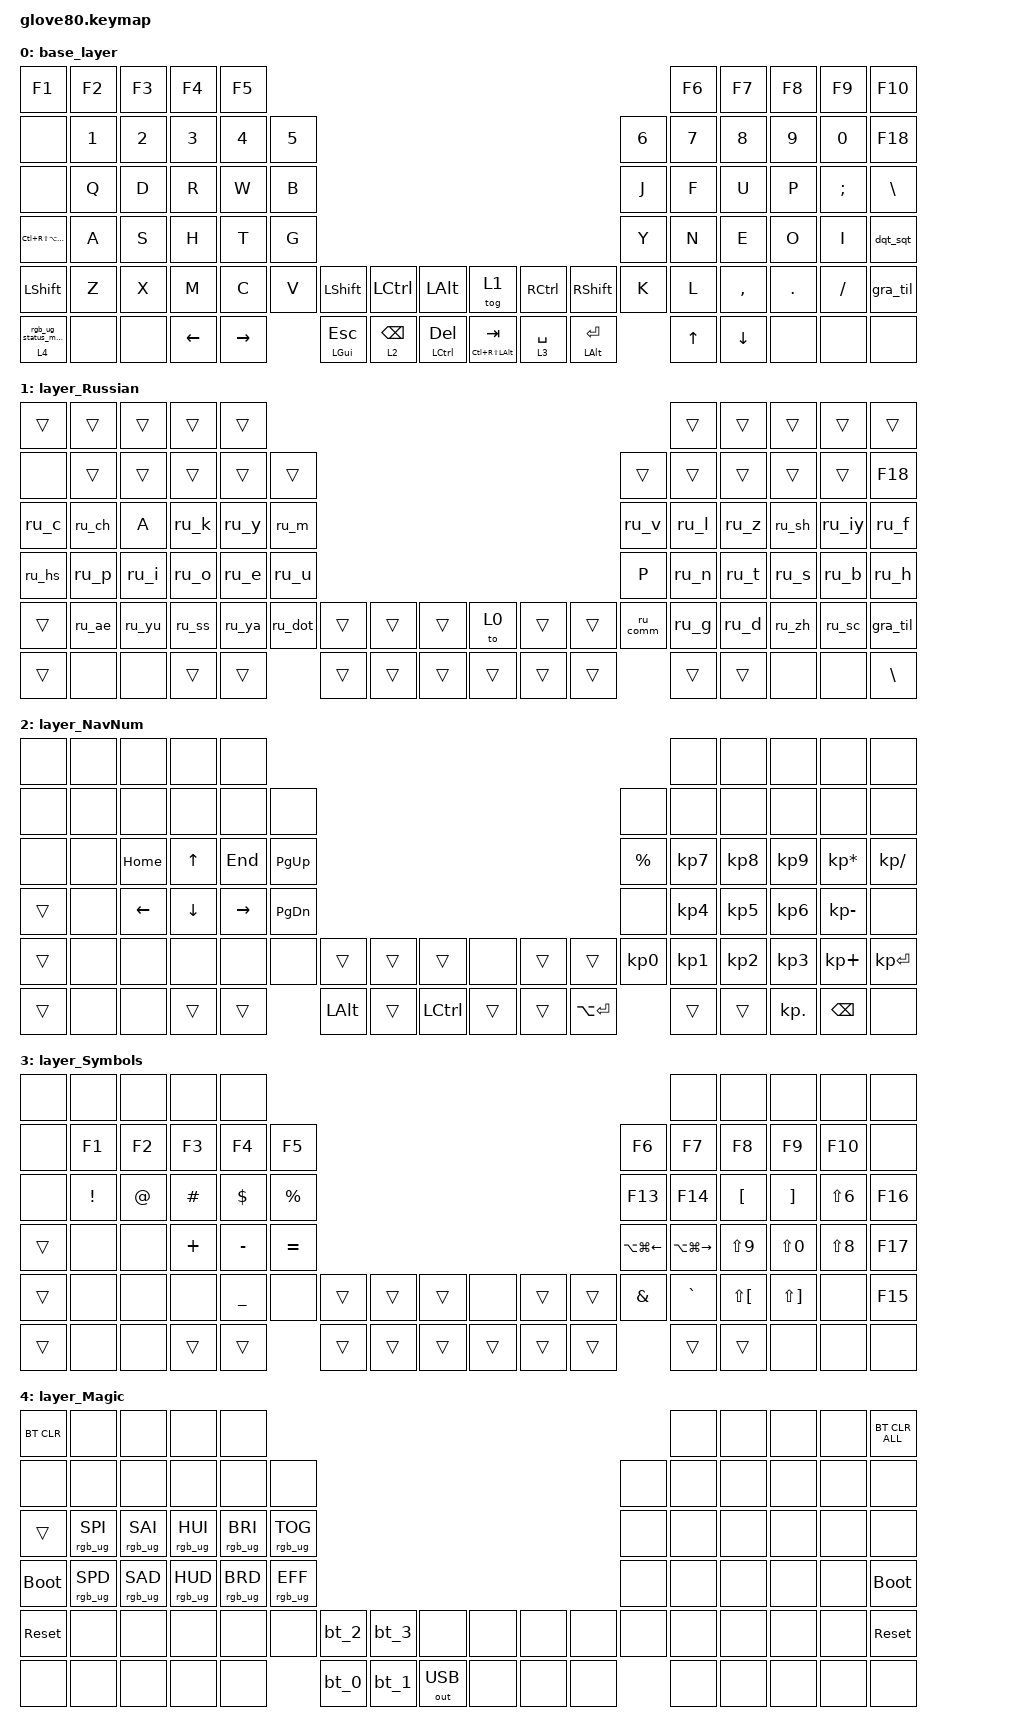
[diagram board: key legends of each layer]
/*
 * Copyright (c) 2020 The ZMK Contributors
 *
 * SPDX-License-Identifier: MIT
 */


#include <behaviors.dtsi>
/* Include all behaviour includes needed by system behaviors/macros */

#include <dt-bindings/zmk/keys.h>
#include <dt-bindings/zmk/bt.h>
#include <dt-bindings/zmk/ext_power.h>
#include <dt-bindings/zmk/outputs.h>
#include <dt-bindings/zmk/rgb.h>

/* required for underglow-indicators */
#include <dt-bindings/led/led.h>

#define HYPR LC(RS(LA(LGUI)))
#define MEH LC(RS(LALT))

#define PRV_SPC F13
#define NXT_SPC F14
#define MSN_CTL F15
#define APP_LNC F16
#define APP_SWT F17

#define PSWD F18

#define PRV_TAB LA(LG(LEFT))
#define NXT_TAB LA(LG(RIGHT))

#define HOST_OS 2  // set to 2 for macOS/Windows-Alt-Codes, default is 0 (Windows)

#include "helper.h"
#include "international_chars/russian.dtsi"


// bind keys swap to LEFT shift, so they do not intefere with MEH/HYPER
#define L_MODMORPH(name, uc_binding, shifted_uc_binding) \
    / { \
        behaviors { \
            name: name { \
                compatible = "zmk,behavior-mod-morph"; \
                label = ZMK_HELPER_STRINGIFY(L_MORPH_ ## name); \
                #binding-cells = <0>; \
                bindings = <uc_binding>, <shifted_uc_binding>; \
                mods = <(MOD_LSFT)>; \
            }; \
        }; \
    };

L_MODMORPH(dqt_sqt, &kp DQT, &kp SQT)
L_MODMORPH(gra_til, &kp GRAVE, &kp TILDE)


/ {
    /* Glove80 system behavior & macros */

    macros {
        rgb_ug_status_macro: rgb_ug_status_macro_0 {
            label = "RGB_UG_STATUS";
            compatible = "zmk,behavior-macro";
            #binding-cells = <0>;
            bindings
                = <&rgb_ug RGB_STATUS>;
        };

        bt_0: bt_profile_macro_0 {
            label = "BT_0";
            compatible = "zmk,behavior-macro";
            #binding-cells = <0>;
            bindings
                = <&out OUT_BLE>,
                  <&bt BT_SEL 0>;
        };

        bt_1: bt_profile_macro_1 {
            label = "BT_1";
            compatible = "zmk,behavior-macro";
            #binding-cells = <0>;
            bindings
                = <&out OUT_BLE>,
                  <&bt BT_SEL 1>;
        };

        bt_2: bt_profile_macro_2 {
            label = "BT_2";
            compatible = "zmk,behavior-macro";
            #binding-cells = <0>;
            bindings
                = <&out OUT_BLE>,
                  <&bt BT_SEL 2>;
        };

        bt_3: bt_profile_macro_3 {
            label = "BT_3";
            compatible = "zmk,behavior-macro";
            #binding-cells = <0>;
            bindings
                = <&out OUT_BLE>,
                  <&bt BT_SEL 3>;
        };
    };

    magic: magic_hold_tap {
        compatible = "zmk,behavior-hold-tap";
        label = "MAGIC_HOLD_TAP";
        #binding-cells = <2>;
        flavor = "tap-preferred";
        tapping-term-ms = <200>;
        bindings = <&mo>, <&rgb_ug_status_macro>;
    };

    keymap {
        compatible = "zmk,keymap";


        base_layer {
            bindings = <
//  0
// ╭──────────┬──────┬──────┬────────┬────────╮                                                                                             ╭──────┬─────────┬────────┬────────┬────────╮
   &kp F1     &kp F2 &kp F3 &kp F4   &kp F5                                                                                                 &kp F6 &kp F7    &kp F8   &kp F9   &kp F10
// ├──────────┼──────┼──────┼────────┼────────┼──────╮                                                                               ╭─────────────┼─────────┼────────┼────────┼────────┤
   &none      &kp N1 &kp N2 &kp N3   &kp N4   &kp N5                                                                                 &kp N6 &kp N7 &kp N8    &kp N9   &kp N0   &kp PSWD
// ├──────────┼──────┼──────┼────────┼────────┼──────┤                                                                               ├──────┼──────┼─────────┼────────┼────────┼────────┤
   &none      &kp Q  &kp D  &kp R    &kp W    &kp B                                                                                  &kp J  &kp F  &kp U     &kp P    &kp SEMI &kp BSLH
// ├──────────┼──────┼──────┼────────┼────────┼──────┤                                                                               ├──────┼──────┼─────────┼────────┼────────┼────────┤
   &kp   HYPR &kp A  &kp S  &kp H    &kp T    &kp G                                                                                  &kp Y  &kp N  &kp E     &kp O    &kp I    &dqt_sqt
// ├──────────┼──────┼──────┼────────┼────────┼──────┤ ╭────────────┬──────────┬────────────╮  ╭───────────┬───────────┬───────────╮ ├──────┼──────┼─────────┼────────┼────────┼────────┤
   &kp  LSHFT &kp Z  &kp X  &kp M    &kp C    &kp V    &kp LSHFT    &kp LCTRL  &kp LALT        &tog 1      &kp RCTRL   &kp RSHFT     &kp K  &kp L  &kp COMMA &kp DOT  &kp FSLH &gra_til
// ├──────────┼──────┼──────┼────────┼────────┼──────╯ ├────────────┼──────────┼────────────┤  ├───────────┼───────────┼───────────┤ ╰──────┼──────┼─────────┼────────┼────────┼────────┤
   &magic 4 0 &none  &none  &kp LEFT &kp RIGHT         &mt LGUI ESC &lt 2 BSPC &mt LCTRL DEL   &mt MEH TAB &lt 3 SPACE &mt LALT RET         &kp UP &kp DOWN  &none    &none    &none
// ╰──────────┴──────┴──────┴────────┴────────╯        ╰────────────┴──────────┴────────────╯  ╰───────────┴───────────┴───────────╯        ╰──────┴─────────┴────────┴────────┴────────╯
            >;
        };

        layer_Russian {
            bindings = <
//  1
// ╭──────┬──────┬──────┬──────┬──────╮                                                              ╭──────┬──────┬──────┬──────┬───────╮
   &trans &trans &trans &trans &trans                                                                &trans &trans &trans &trans &trans
// ├──────┼──────┼──────┼──────┼──────┼──────╮                                              ╭────────┼──────┼──────┼──────┼──────┼───────┤
   &none  &trans &trans &trans &trans &trans                                                &trans   &trans &trans &trans &trans &kp PSWD
// ├──────┼──────┼──────┼──────┼──────┼──────┤                                              ├────────┼──────┼──────┼──────┼──────┼───────┤
   &ru_c  &ru_ch &kp A  &ru_k  &ru_y  &ru_m                                                 &ru_v    &ru_l  &ru_z  &ru_sh &ru_iy &ru_f
// ├──────┼──────┼──────┼──────┼──────┼──────┤                                              ├────────┼──────┼──────┼──────┼──────┼───────┤
   &ru_hs &ru_p  &ru_i  &ru_o  &ru_e  &ru_u                                                 &kp P    &ru_n  &ru_t  &ru_s  &ru_b  &ru_h
// ├──────┼──────┼──────┼──────┼──────┼──────┤ ╭──────┬──────┬─────╮  ╭──────┬──────┬─────╮ ├────────┼──────┼──────┼──────┼──────┼───────┤
   &trans &ru_ae &ru_yu &ru_ss &ru_ya &ru_dot  &trans &trans &trans   &to 0  &trans &trans  &ru_comm &ru_g  &ru_d  &ru_zh &ru_sc &gra_til
// ├──────┼──────┼──────┼──────┼──────┼──────╯ ├──────┼──────┼─────┤  ├──────┼──────┼─────┤ ╰────────┼──────┼──────┼──────┼──────┼───────┤
   &trans &none  &none  &trans &trans          &trans &trans &trans   &trans &trans &trans           &trans &trans &none  &none  &kp BSLH
// ╰──────┴──────┴──────┴──────┴──────╯        ╰──────┴──────┴─────╯  ╰──────┴──────┴─────╯          ╰──────┴──────┴──────┴──────┴───────╯
            >;
        };

        layer_NavNum {
            bindings = <
//  2
// ╭──────┬──────┬────────┬────────┬─────────╮                                                                           ╭─────────┬─────────┬──────────┬───────────────┬────────────╮
   &none  &none  &none    &none    &none                                                                                 &none     &none     &none      &none           &none
// ├──────┼──────┼────────┼────────┼─────────┼────────╮                                                        ╭─────────┼─────────┼─────────┼──────────┼───────────────┼────────────┤
   &none  &none  &none    &none    &none     &none                                                             &none     &none     &none     &none      &none           &none
// ├──────┼──────┼────────┼────────┼─────────┼────────┤                                                        ├─────────┼─────────┼─────────┼──────────┼───────────────┼────────────┤
   &none  &none  &kp HOME &kp  UP  &kp  END  &kp PG_UP                                                         &kp PRCNT &kp KP_N7 &kp KP_N8 &kp KP_N9  &kp KP_MULTIPLY &kp KP_DIVIDE
// ├──────┼──────┼────────┼────────┼─────────┼────────┤                                                        ├─────────┼─────────┼─────────┼──────────┼───────────────┼────────────┤
   &trans &none  &kp LEFT &kp DOWN &kp RIGHT &kp PG_DN                                                         &none     &kp KP_N4 &kp KP_N5 &kp KP_N6  &kp KP_MINUS    &none
// ├──────┼──────┼────────┼────────┼─────────┼────────┤ ╭────────┬──────┬────────╮  ╭──────┬──────┬──────────╮ ├─────────┼─────────┼─────────┼──────────┼───────────────┼────────────┤
   &trans &none  &none    &none    &none     &none      &trans   &trans &trans      &none  &trans &trans       &kp KP_N0 &kp KP_N1 &kp KP_N2 &kp KP_N3  &kp KP_PLUS     &kp KP_ENTER
// ├──────┼──────┼────────┼────────┼─────────┼────────╯ ├────────┼──────┼────────┤  ├──────┼──────┼──────────┤ ╰─────────┼─────────┼─────────┼──────────┼───────────────┼────────────┤
   &trans &none  &none    &trans &trans                 &kp LALT &trans &kp LCTRL   &trans &trans &kp LA(RET)            &trans    &trans    &kp KP_DOT &kp BSPC        &none
// ╰──────┴──────┴────────┴────────┴─────────╯          ╰────────┴──────┴────────╯  ╰──────┴──────┴──────────╯           ╰─────────┴─────────┴──────────┴───────────────┴────────────╯
            >;
        };

        layer_Symbols {
            bindings = <
//  3
// ╭──────┬────────┬────────┬────────┬─────────╮                                                                   ╭───────────┬────────────┬────────────┬───────────┬──────────╮
   &none  &none    &none    &none    &none                                                                         &none       &none        &none        &none       &none
// ├──────┼────────┼────────┼────────┼─────────┼────────╮                                              ╭───────────┼───────────┼────────────┼────────────┼───────────┼──────────┤
   &none  &kp F1   &kp F2   &kp  F3  &kp  F4   &kp  F5                                                 &kp F6      &kp F7      &kp F8       &kp F9       &kp F10     &none
// ├──────┼────────┼────────┼────────┼─────────┼────────┤                                              ├───────────┼───────────┼────────────┼────────────┼─[ ^ ]─────┼──────────┤
   &none  &kp EXCL &kp AT   &kp HASH &kp DLLR  &kp PRCNT                                               &kp PRV_SPC &kp NXT_SPC &kp LBKT    &kp RBKT      &kp LS(N6)  &kp APP_LNC
// ├──────┼────────┼────────┼────────┼─────────┼────────┤                                              ├───────────┼───────────┼─[ ( ]──────┼─[ ) ]──────┼─[ * ]─────┼──────────┤
   &trans &none    &none    &kp PLUS &kp MINUS &kp EQUAL                                               &kp PRV_TAB &kp NXT_TAB &kp LS(N9)   &kp LS(N0)   &kp LS(N8)  &kp APP_SWT
// ├──────┼────────┼────────┼────────┼─────────┼────────┤ ╭──────┬──────┬─────╮  ╭──────┬──────┬─────╮ ├───────────┼───────────┼─[ { ]──────┼─[ } ]──────┼───────────┼──────────┤
   &trans &none    &none    &none    &kp UNDER &none      &trans &trans &trans   &none  &trans &trans  &kp AMPS    &kp GRAVE   &kp LS(LBKT) &kp LS(RBKT) &none       &kp MSN_CTL
// ├──────┼────────┼────────┼────────┼─────────┼────────╯ ├──────┼──────┼─────┤  ├──────┼──────┼─────┤ ╰───────────┼───────────┼────────────┼────────────┼───────────┼──────────┤
   &trans &none    &none    &trans   &trans               &trans &trans &trans   &trans &trans &trans              &trans      &trans       &none        &none       &none
// ╰──────┴────────┴────────┴────────┴─────────╯          ╰──────┴──────┴─────╯  ╰──────┴──────┴─────╯             ╰───────────┴────────────┴────────────┴───────────┴──────────╯
            >;
        };

        layer_Magic {
            bindings = <
//  3
// ╭───────────┬───────────────┬───────────────┬───────────────┬───────────────╮                                                                     ╭─────┬─────┬─────┬─────┬─────────────╮
   &bt BT_CLR  &none           &none           &none           &none                                                                                 &none &none &none &none &bt BT_CLR_ALL
// ├───────────┼───────────────┼───────────────┼───────────────┼───────────────┼──────────────╮                                                ╭─────┼─────┼─────┼─────┼─────┼─────────────┤
   &none       &none           &none           &none           &none           &none                                                           &none &none &none &none &none &none
// ├───────────┼───────────────┼───────────────┼───────────────┼───────────────┼──────────────┤                                                ├─────┼─────┼─────┼─────┼─────┼─────────────┤
   &trans      &rgb_ug RGB_SPI &rgb_ug RGB_SAI &rgb_ug RGB_HUI &rgb_ug RGB_BRI &rgb_ug RGB_TOG                                                 &none &none &none &none &none &none
// ├───────────┼───────────────┼───────────────┼───────────────┼───────────────┼──────────────┤                                                ├─────┼─────┼─────┼─────┼─────┼─────────────┤
   &bootloader &rgb_ug RGB_SPD &rgb_ug RGB_SAD &rgb_ug RGB_HUD &rgb_ug RGB_BRD &rgb_ug RGB_EFF                                                 &none &none &none &none &none &bootloader
// ├───────────┼───────────────┼───────────────┼───────────────┼───────────────┼──────────────┤ ╭──────┬─────┬───────────╮  ╭─────┬─────┬────╮ ├─────┼─────┼─────┼─────┼─────┼─────────────┤
   &sys_reset  &none           &none           &none           &none           &none            &bt_2  &bt_3 &none          &none &none &none  &none &none &none &none &none &sys_reset
// ├───────────┼───────────────┼───────────────┼───────────────┼───────────────┼────────╯       ├──────┼─────┼───────────┤  ├─────┼─────┼────┤ ╰─────┼─────┼─────┼─────┼─────┼─────────────┤
   &none       &none           &none           &none           &none                            &bt_0  &bt_1 &out OUT_USB   &none &none &none        &none &none &none &none &none
// ╰───────────┴───────────────┴───────────────┴───────────────┴───────────────╯                ╰──────┴─────┴───────────╯  ╰─────┴─────┴────╯       ╰─────┴─────┴─────┴─────┴─────────────╯
            >;
        };
    };
};

/* not supported by older versions
    &underglow_indicators {
        compatible  = "zmk,underglow-indicators";
        layer-state = <35 29 23 17 11 6>;
        bat-lhs     = <36 30 24 18 12 7>;
        bat-rhs     = <29 29 23 23 17 17>;
        capslock    = <22>;
        numlock     = <16>;
        scrolllock  = <10>;
        ble-state   = <3 4 0 1>;
        usb-state   = <5>;
        output-fallback = <15>;
    };
*/
